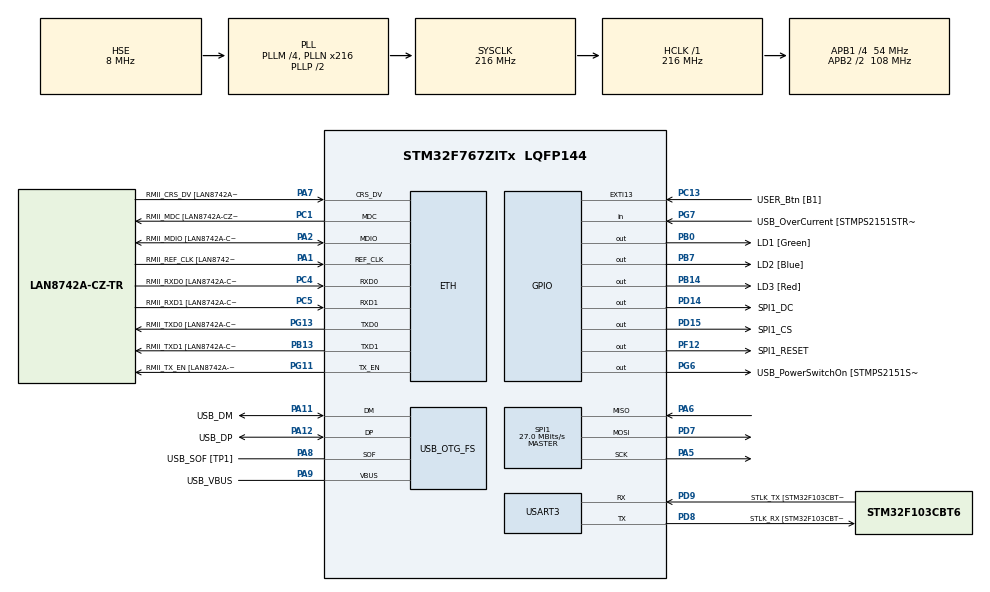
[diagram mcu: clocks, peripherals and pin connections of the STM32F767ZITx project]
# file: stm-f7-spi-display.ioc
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ETH.MediaInterface=HAL_ETH_RMII_MODE
ETH.PHY_Name=LAN8742A_PHY_ADDRESS
ETH.PHY_Value=0
ETH.PhyAddress=0
Mcu.Family=STM32F7
Mcu.Name=STM32F767ZITx
Mcu.Package=LQFP144
NVIC.PriorityGroup=NVIC_PRIORITYGROUP_4
NVIC.SPI1_IRQn=true\:0\:0\:false\:false\:true\:true\:true\:true
PA1.GPIO_Label=RMII_REF_CLK [LAN8742A-CZ-TR_REFCLK0]
PA1.Mode=RMII
PA1.Signal=ETH_REF_CLK
PA10.GPIO_Label=USB_ID
PA10.Signal=USB_OTG_FS_ID
PA11.GPIO_Label=USB_DM
PA11.Mode=Device_Only
PA11.Signal=USB_OTG_FS_DM
PA12.GPIO_Label=USB_DP
PA12.Mode=Device_Only
PA12.Signal=USB_OTG_FS_DP
PA13.GPIO_Label=TMS
PA13.Mode=Serial_Wire
PA13.Signal=SYS_JTMS-SWDIO
PA14.GPIO_Label=TCK
PA14.Mode=Serial_Wire
PA14.Signal=SYS_JTCK-SWCLK
PA2.GPIO_Label=RMII_MDIO [LAN8742A-CZ-TR_MDIO]
PA2.Mode=RMII
PA2.Signal=ETH_MDIO
PA5.Mode=Full_Duplex_Master
PA5.Signal=SPI1_SCK
PA6.Mode=Full_Duplex_Master
PA6.Signal=SPI1_MISO
PA7.GPIO_Label=RMII_CRS_DV [LAN8742A-CZ-TR_CRS_DV]
PA7.Mode=RMII
PA7.Signal=ETH_CRS_DV
PA8.GPIO_Label=USB_SOF [TP1]
PA8.Mode=Activate_SOF_FS
PA8.Signal=USB_OTG_FS_SOF
PA9.GPIO_Label=USB_VBUS
PA9.Mode=Activate_VBUS
PA9.Signal=USB_OTG_FS_VBUS
PB0.GPIO_Label=LD1 [Green]
PB0.Signal=GPIO_Output
PB13.GPIO_Label=RMII_TXD1 [LAN8742A-CZ-TR_TXD1]
PB13.Mode=RMII
PB13.Signal=ETH_TXD1
PB14.GPIO_Label=LD3 [Red]
PB14.Signal=GPIO_Output
PB3.GPIO_Label=SWO
PB3.Signal=SYS_JTDO-SWO
PB5.Signal=SPI3_MOSI
PB7.GPIO_Label=LD2 [Blue]
PB7.Signal=GPIO_Output
PC1.GPIO_Label=RMII_MDC [LAN8742A-CZ-TR_MDC]
PC1.Mode=RMII
PC1.Signal=ETH_MDC
PC13.GPIO_Label=USER_Btn [B1]
PC13.Signal=GPXTI13
PC14/OSC32_IN.Mode=LSE-External-Oscillator
PC14/OSC32_IN.Signal=RCC_OSC32_IN
PC15/OSC32_OUT.Mode=LSE-External-Oscillator
PC15/OSC32_OUT.Signal=RCC_OSC32_OUT
PC4.GPIO_Label=RMII_RXD0 [LAN8742A-CZ-TR_RXD0]
PC4.Mode=RMII
PC4.Signal=ETH_RXD0
PC5.GPIO_Label=RMII_RXD1 [LAN8742A-CZ-TR_RXD1]
PC5.Mode=RMII
PC5.Signal=ETH_RXD1
PD14.GPIO_Label=SPI1_DC
PD14.Signal=GPIO_Output
PD15.GPIO_Label=SPI1_CS
PD15.Signal=GPIO_Output
PD7.Mode=Full_Duplex_Master
PD7.Signal=SPI1_MOSI
PD8.GPIO_Label=STLK_RX [STM32F103CBT6_PA3]
PD8.Mode=Asynchronous
PD8.Signal=USART3_TX
PD9.GPIO_Label=STLK_TX [STM32F103CBT6_PA2]
PD9.Mode=Asynchronous
PD9.Signal=USART3_RX
PF12.GPIO_Label=SPI1_RESET
PF12.Signal=GPIO_Output
PG11.GPIO_Label=RMII_TX_EN [LAN8742A-CZ-TR_TXEN]
PG11.Mode=RMII
PG11.Signal=ETH_TX_EN
PG13.GPIO_Label=RMII_TXD0 [LAN8742A-CZ-TR_TXD0]
PG13.Mode=RMII
PG13.Signal=ETH_TXD0
PG6.GPIO_Label=USB_PowerSwitchOn [STMPS2151STR_EN]
PG6.Signal=GPIO_Output
PG7.GPIO_Label=USB_OverCurrent [STMPS2151STR_FAULT]
PG7.Signal=GPIO_Input
PH0/OSC_IN.GPIO_Label=MCO [STM32F103CBT6_PA8]
PH0/OSC_IN.Mode=HSE-External-Clock-Source
PH0/OSC_IN.Signal=RCC_OSC_IN
PH1/OSC_OUT.Mode=HSE-External-Clock-Source
PH1/OSC_OUT.Signal=RCC_OSC_OUT
ProjectManager.HeapSize=0x200
ProjectManager.StackSize=0x400
ProjectManager.TargetToolchain=STM32CubeIDE
RCC.48MHZClocksFreq_Value=24000000
RCC.AHBFreq_Value=216000000
RCC.APB1CLKDivider=RCC_HCLK_DIV4
RCC.APB1Freq_Value=54000000
RCC.APB1TimFreq_Value=108000000
RCC.APB2CLKDivider=RCC_HCLK_DIV2
RCC.APB2Freq_Value=108000000
RCC.APB2TimFreq_Value=216000000
RCC.CortexFreq_Value=216000000
RCC.HCLKFreq_Value=216000000
RCC.HSE_VALUE=8000000
RCC.HSI_VALUE=16000000
RCC.PLL48CLockSelection=RCC_CLK48SOURCE_PLLSAIP
RCC.PLLM=4
RCC.PLLMUL=RCC_PLL_MUL9
RCC.PLLN=216
RCC.PLLQ=8
RCC.PLLSAIN=96
RCC.PLLSAIP=RCC_PLLSAIP_DIV4
RCC.PRESCALERUSB=RCC_USBCLKSOURCE_PLL_DIV1_5
RCC.SYSCLKFreq_VALUE=216000000
RCC.SYSCLKSource=RCC_SYSCLKSOURCE_PLLCLK
RCC.SYSCLKSourceVirtual=RCC_SYSCLKSOURCE_PLLCLK
RCC.USBFreq_Value=48000000
RCC.VCOOutputFreq_Value=432000000
SPI1.BaudRatePrescaler=SPI_BAUDRATEPRESCALER_4
SPI1.CalculateBaudRate=27.0 MBits/s
SPI1.DataSize=SPI_DATASIZE_8BIT
SPI1.Direction=SPI_DIRECTION_2LINES
SPI1.Mode=SPI_MODE_MASTER
SPI1.VirtualType=VM_MASTER
USART3.VirtualMode-Asynchronous=VM_ASYNC
USB_OTG_FS.VirtualMode=Device_Only
board=NUCLEO-F767ZI

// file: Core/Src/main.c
/* USER CODE BEGIN Header */
/**
  ******************************************************************************
  * @file           : main.c
  * @brief          : Main program body
  ******************************************************************************
  * @attention
  *
  * Copyright (c) 2024 STMicroelectronics.
  * All rights reserved.
  *
  * This software is licensed under terms that can be found in the LICENSE file
  * in the root directory of this software component.
  * If no LICENSE file comes with this software, it is provided AS-IS.
  *
  ******************************************************************************
  */
/* USER CODE END Header */
#include "main.h"
#include "string.h"

/* USER CODE BEGIN Includes */
#include <string.h>
#include <stdarg.h>
#include <stdio.h>
#include "ili9341.h"
#include "ili9341_touch.h"
#include "fonts.h"
#include "testimg.h"
/* USER CODE END Includes */

#if defined ( __ICCARM__ ) /*!< IAR Compiler */
#pragma location=0x2007c000
ETH_DMADescTypeDef  DMARxDscrTab[ETH_RX_DESC_CNT]; /* Ethernet Rx DMA Descriptors */
#pragma location=0x2007c0a0
ETH_DMADescTypeDef  DMATxDscrTab[ETH_TX_DESC_CNT]; /* Ethernet Tx DMA Descriptors */

#elif defined ( __CC_ARM )  /* MDK ARM Compiler */

__attribute__((at(0x2007c000))) ETH_DMADescTypeDef  DMARxDscrTab[ETH_RX_DESC_CNT]; /* Ethernet Rx DMA Descriptors */
__attribute__((at(0x2007c0a0))) ETH_DMADescTypeDef  DMATxDscrTab[ETH_TX_DESC_CNT]; /* Ethernet Tx DMA Descriptors */

#elif defined ( __GNUC__ ) /* GNU Compiler */

ETH_DMADescTypeDef DMARxDscrTab[ETH_RX_DESC_CNT] __attribute__((section(".RxDecripSection"))); /* Ethernet Rx DMA Descriptors */
ETH_DMADescTypeDef DMATxDscrTab[ETH_TX_DESC_CNT] __attribute__((section(".TxDecripSection")));   /* Ethernet Tx DMA Descriptors */
#endif

ETH_TxPacketConfig TxConfig;

ETH_HandleTypeDef heth;

SPI_HandleTypeDef hspi1;

UART_HandleTypeDef huart3;

PCD_HandleTypeDef hpcd_USB_OTG_FS;

void SystemClock_Config(void);
static void MX_GPIO_Init(void);
static void MX_ETH_Init(void);
static void MX_USART3_UART_Init(void);
static void MX_USB_OTG_FS_PCD_Init(void);
static void MX_SPI1_Init(void);
/* USER CODE BEGIN PFP */
void mainApp(void);

/* USER CODE END PFP */

/* USER CODE BEGIN 0 */

void UART_Printf(const char* fmt, ...) {
    char buff[256];
    va_list args;
    va_start(args, fmt);
    vsnprintf(buff, sizeof(buff), fmt, args);
    HAL_UART_Transmit(&huart3, (uint8_t*)buff, strlen(buff),
                      HAL_MAX_DELAY);
    va_end(args);
}

void init() {
    ILI9341_Unselect();
//    ILI9341_TouchUnselect();
    ILI9341_Init();
}

void loop() {
    if(HAL_SPI_DeInit(&hspi1) != HAL_OK) {
        UART_Printf("HAL_SPI_DeInit failed!\r\n");
        return;
    }

    hspi1.Init.BaudRatePrescaler = SPI_BAUDRATEPRESCALER_2;

    if(HAL_SPI_Init(&hspi1) != HAL_OK) {
        UART_Printf("HAL_SPI_Init failed!\r\n");
        return;
    }

    // Check border
    ILI9341_FillScreen(ILI9341_BLACK);

    for(int x = 0; x < ILI9341_WIDTH; x++) {
        ILI9341_DrawPixel(x, 0, ILI9341_RED);
        ILI9341_DrawPixel(x, ILI9341_HEIGHT-1, ILI9341_RED);
    }

    for(int y = 0; y < ILI9341_HEIGHT; y++) {
        ILI9341_DrawPixel(0, y, ILI9341_RED);
        ILI9341_DrawPixel(ILI9341_WIDTH-1, y, ILI9341_RED);
    }

    HAL_Delay(3000);

    // Check fonts
    ILI9341_FillScreen(ILI9341_BLACK);
    ILI9341_WriteString(0, 0, "Font_7x10, red on black, lorem ipsum dolor sit amet", Font_7x10, ILI9341_RED, ILI9341_BLACK);
    ILI9341_WriteString(0, 3*10, "Font_11x18, green, lorem ipsum dolor sit amet", Font_11x18, ILI9341_GREEN, ILI9341_BLACK);
    ILI9341_WriteString(0, 3*10+3*18, "Font_16x26, blue, lorem ipsum dolor sit amet", Font_16x26, ILI9341_BLUE, ILI9341_BLACK);

    HAL_Delay(1000);
    ILI9341_InvertColors(true);
    HAL_Delay(1000);
    ILI9341_InvertColors(false);

    HAL_Delay(5000);

    // Check colors
    ILI9341_FillScreen(ILI9341_WHITE);
    ILI9341_WriteString(0, 0, "WHITE", Font_11x18, ILI9341_BLACK, ILI9341_WHITE);
    HAL_Delay(500);

    ILI9341_FillScreen(ILI9341_BLUE);
    ILI9341_WriteString(0, 0, "BLUE", Font_11x18, ILI9341_BLACK, ILI9341_BLUE);
    HAL_Delay(500);

    ILI9341_FillScreen(ILI9341_RED);
    ILI9341_WriteString(0, 0, "RED", Font_11x18, ILI9341_BLACK, ILI9341_RED);
    HAL_Delay(500);

    ILI9341_FillScreen(ILI9341_GREEN);
    ILI9341_WriteString(0, 0, "GREEN", Font_11x18, ILI9341_BLACK, ILI9341_GREEN);
    HAL_Delay(500);

    ILI9341_FillScreen(ILI9341_CYAN);
    ILI9341_WriteString(0, 0, "CYAN", Font_11x18, ILI9341_BLACK, ILI9341_CYAN);
    HAL_Delay(500);

    ILI9341_FillScreen(ILI9341_MAGENTA);
    ILI9341_WriteString(0, 0, "MAGENTA", Font_11x18, ILI9341_BLACK, ILI9341_MAGENTA);
    HAL_Delay(500);

    ILI9341_FillScreen(ILI9341_YELLOW);
    ILI9341_WriteString(0, 0, "YELLOW", Font_11x18, ILI9341_BLACK, ILI9341_YELLOW);
    HAL_Delay(500);

    ILI9341_FillScreen(ILI9341_BLACK);
    ILI9341_WriteString(0, 0, "BLACK", Font_11x18, ILI9341_WHITE, ILI9341_BLACK);
    HAL_Delay(500);

    ILI9341_DrawImage((ILI9341_WIDTH - 240) / 2, (ILI9341_HEIGHT - 240) / 2, 240, 240, (const uint16_t*)test_img_240x240);

    HAL_Delay(3000);

    /*
    ILI9341_FillScreen(ILI9341_BLACK);
    ILI9341_WriteString(0, 0, "Touchpad test.  Draw something!", Font_11x18, ILI9341_WHITE, ILI9341_BLACK);
    HAL_Delay(1000);
    ILI9341_FillScreen(ILI9341_BLACK);
    */

    if(HAL_SPI_DeInit(&hspi1) != HAL_OK) {
        UART_Printf("HAL_SPI_DeInit failed!\r\n");
        return;
    }

    hspi1.Init.BaudRatePrescaler = SPI_BAUDRATEPRESCALER_128;

    if(HAL_SPI_Init(&hspi1) != HAL_OK) {
        UART_Printf("HAL_SPI_Init failed!\r\n");
        return;
    }

    /*
    int npoints = 0;
    while(npoints < 10000) {
        uint16_t x, y;

        if(ILI9341_TouchGetCoordinates(&x, &y)) {
            ILI9341_DrawPixel(x, 320-y, ILI9341_WHITE);
            npoints++;
        }
    }
    */
}

/* USER CODE END 0 */

int main(void)
{

  /* MCU Configuration--------------------------------------------------------*/

  /* Reset of all peripherals, Initializes the Flash interface and the Systick. */
  HAL_Init();

  /* Configure the system clock */
  SystemClock_Config();

  /* Initialize all configured peripherals */
  MX_GPIO_Init();
  MX_ETH_Init();
  MX_USART3_UART_Init();
  MX_USB_OTG_FS_PCD_Init();
  MX_SPI1_Init();

  /* Infinite loop */
  /* USER CODE BEGIN WHILE */
  UART_Printf("Starting init...\r\n");
  init();

  UART_Printf("Starting loop...\r\n");
  while (1)
  {
    loop();
    /* USER CODE END WHILE */

  }
}

void SystemClock_Config(void)
{
  RCC_OscInitTypeDef RCC_OscInitStruct = {0};
  RCC_ClkInitTypeDef RCC_ClkInitStruct = {0};

  /** Configure LSE Drive Capability
  */
  HAL_PWR_EnableBkUpAccess();

  /** Configure the main internal regulator output voltage
  */
  __HAL_RCC_PWR_CLK_ENABLE();
  __HAL_PWR_VOLTAGESCALING_CONFIG(PWR_REGULATOR_VOLTAGE_SCALE1);

  /** Initializes the RCC Oscillators according to the specified parameters
  * in the RCC_OscInitTypeDef structure.
  */
  RCC_OscInitStruct.OscillatorType = RCC_OSCILLATORTYPE_HSE;
  RCC_OscInitStruct.HSEState = RCC_HSE_BYPASS;
  RCC_OscInitStruct.PLL.PLLState = RCC_PLL_ON;
  RCC_OscInitStruct.PLL.PLLSource = RCC_PLLSOURCE_HSE;
  RCC_OscInitStruct.PLL.PLLM = 4;
  RCC_OscInitStruct.PLL.PLLN = 216;
  RCC_OscInitStruct.PLL.PLLP = RCC_PLLP_DIV2;
  RCC_OscInitStruct.PLL.PLLQ = 8;
  RCC_OscInitStruct.PLL.PLLR = 2;
  if (HAL_RCC_OscConfig(&RCC_OscInitStruct) != HAL_OK)
  {
    Error_Handler();
  }

  /** Activate the Over-Drive mode
  */
  if (HAL_PWREx_EnableOverDrive() != HAL_OK)
  {
    Error_Handler();
  }

  /** Initializes the CPU, AHB and APB buses clocks
  */
  RCC_ClkInitStruct.ClockType = RCC_CLOCKTYPE_HCLK|RCC_CLOCKTYPE_SYSCLK
                              |RCC_CLOCKTYPE_PCLK1|RCC_CLOCKTYPE_PCLK2;
  RCC_ClkInitStruct.SYSCLKSource = RCC_SYSCLKSOURCE_PLLCLK;
  RCC_ClkInitStruct.AHBCLKDivider = RCC_SYSCLK_DIV1;
  RCC_ClkInitStruct.APB1CLKDivider = RCC_HCLK_DIV4;
  RCC_ClkInitStruct.APB2CLKDivider = RCC_HCLK_DIV2;

  if (HAL_RCC_ClockConfig(&RCC_ClkInitStruct, FLASH_LATENCY_7) != HAL_OK)
  {
    Error_Handler();
  }
}

static void MX_ETH_Init(void)
{

   static uint8_t MACAddr[6];

  heth.Instance = ETH;
  MACAddr[0] = 0x00;
  MACAddr[1] = 0x80;
  MACAddr[2] = 0xE1;
  MACAddr[3] = 0x00;
  MACAddr[4] = 0x00;
  MACAddr[5] = 0x00;
  heth.Init.MACAddr = &MACAddr[0];
  heth.Init.MediaInterface = HAL_ETH_RMII_MODE;
  heth.Init.TxDesc = DMATxDscrTab;
  heth.Init.RxDesc = DMARxDscrTab;
  heth.Init.RxBuffLen = 1524;

  if (HAL_ETH_Init(&heth) != HAL_OK)
  {
    Error_Handler();
  }

  memset(&TxConfig, 0 , sizeof(ETH_TxPacketConfig));
  TxConfig.Attributes = ETH_TX_PACKETS_FEATURES_CSUM | ETH_TX_PACKETS_FEATURES_CRCPAD;
  TxConfig.ChecksumCtrl = ETH_CHECKSUM_IPHDR_PAYLOAD_INSERT_PHDR_CALC;
  TxConfig.CRCPadCtrl = ETH_CRC_PAD_INSERT;

}

static void MX_SPI1_Init(void)
{

  /* SPI1 parameter configuration*/
  hspi1.Instance = SPI1;
  hspi1.Init.Mode = SPI_MODE_MASTER;
  hspi1.Init.Direction = SPI_DIRECTION_2LINES;
  hspi1.Init.DataSize = SPI_DATASIZE_8BIT;
  hspi1.Init.CLKPolarity = SPI_POLARITY_LOW;
  hspi1.Init.CLKPhase = SPI_PHASE_1EDGE;
  hspi1.Init.NSS = SPI_NSS_SOFT;
  hspi1.Init.BaudRatePrescaler = SPI_BAUDRATEPRESCALER_4;
  hspi1.Init.FirstBit = SPI_FIRSTBIT_MSB;
  hspi1.Init.TIMode = SPI_TIMODE_DISABLE;
  hspi1.Init.CRCCalculation = SPI_CRCCALCULATION_DISABLE;
  hspi1.Init.CRCPolynomial = 7;
  hspi1.Init.CRCLength = SPI_CRC_LENGTH_DATASIZE;
  hspi1.Init.NSSPMode = SPI_NSS_PULSE_ENABLE;
  if (HAL_SPI_Init(&hspi1) != HAL_OK)
  {
    Error_Handler();
  }

}

static void MX_USART3_UART_Init(void)
{

  huart3.Instance = USART3;
  huart3.Init.BaudRate = 115200;
  huart3.Init.WordLength = UART_WORDLENGTH_8B;
  huart3.Init.StopBits = UART_STOPBITS_1;
  huart3.Init.Parity = UART_PARITY_NONE;
  huart3.Init.Mode = UART_MODE_TX_RX;
  huart3.Init.HwFlowCtl = UART_HWCONTROL_NONE;
  huart3.Init.OverSampling = UART_OVERSAMPLING_16;
  huart3.Init.OneBitSampling = UART_ONE_BIT_SAMPLE_DISABLE;
  huart3.AdvancedInit.AdvFeatureInit = UART_ADVFEATURE_NO_INIT;
  if (HAL_UART_Init(&huart3) != HAL_OK)
  {
    Error_Handler();
  }

}

static void MX_USB_OTG_FS_PCD_Init(void)
{

  hpcd_USB_OTG_FS.Instance = USB_OTG_FS;
  hpcd_USB_OTG_FS.Init.dev_endpoints = 6;
  hpcd_USB_OTG_FS.Init.speed = PCD_SPEED_FULL;
  hpcd_USB_OTG_FS.Init.dma_enable = DISABLE;
  hpcd_USB_OTG_FS.Init.phy_itface = PCD_PHY_EMBEDDED;
  hpcd_USB_OTG_FS.Init.Sof_enable = ENABLE;
  hpcd_USB_OTG_FS.Init.low_power_enable = DISABLE;
  hpcd_USB_OTG_FS.Init.lpm_enable = DISABLE;
  hpcd_USB_OTG_FS.Init.vbus_sensing_enable = ENABLE;
  hpcd_USB_OTG_FS.Init.use_dedicated_ep1 = DISABLE;
  if (HAL_PCD_Init(&hpcd_USB_OTG_FS) != HAL_OK)
  {
    Error_Handler();
  }

}

static void MX_GPIO_Init(void)
{
  GPIO_InitTypeDef GPIO_InitStruct = {0};

  /* GPIO Ports Clock Enable */
  __HAL_RCC_GPIOC_CLK_ENABLE();
  __HAL_RCC_GPIOH_CLK_ENABLE();
  __HAL_RCC_GPIOA_CLK_ENABLE();
  __HAL_RCC_GPIOB_CLK_ENABLE();
  __HAL_RCC_GPIOF_CLK_ENABLE();
  __HAL_RCC_GPIOD_CLK_ENABLE();
  __HAL_RCC_GPIOG_CLK_ENABLE();

  /*Configure GPIO pin Output Level */
  HAL_GPIO_WritePin(GPIOB, LD1_Pin|LD3_Pin|LD2_Pin, GPIO_PIN_RESET);

  /*Configure GPIO pin Output Level */
  HAL_GPIO_WritePin(SPI1_RESET_GPIO_Port, SPI1_RESET_Pin, GPIO_PIN_RESET);

  /*Configure GPIO pin Output Level */
  HAL_GPIO_WritePin(GPIOD, SPI1_DC_Pin|SPI1_CS_Pin, GPIO_PIN_RESET);

  /*Configure GPIO pin Output Level */
  HAL_GPIO_WritePin(USB_PowerSwitchOn_GPIO_Port, USB_PowerSwitchOn_Pin, GPIO_PIN_RESET);

  /*Configure GPIO pin : USER_Btn_Pin */
  GPIO_InitStruct.Pin = USER_Btn_Pin;
  GPIO_InitStruct.Mode = GPIO_MODE_IT_RISING;
  GPIO_InitStruct.Pull = GPIO_NOPULL;
  HAL_GPIO_Init(USER_Btn_GPIO_Port, &GPIO_InitStruct);

  /*Configure GPIO pins : LD1_Pin LD3_Pin LD2_Pin */
  GPIO_InitStruct.Pin = LD1_Pin|LD3_Pin|LD2_Pin;
  GPIO_InitStruct.Mode = GPIO_MODE_OUTPUT_PP;
  GPIO_InitStruct.Pull = GPIO_NOPULL;
  GPIO_InitStruct.Speed = GPIO_SPEED_FREQ_LOW;
  HAL_GPIO_Init(GPIOB, &GPIO_InitStruct);

  /*Configure GPIO pin : SPI1_RESET_Pin */
  GPIO_InitStruct.Pin = SPI1_RESET_Pin;
  GPIO_InitStruct.Mode = GPIO_MODE_OUTPUT_PP;
  GPIO_InitStruct.Pull = GPIO_NOPULL;
  GPIO_InitStruct.Speed = GPIO_SPEED_FREQ_LOW;
  HAL_GPIO_Init(SPI1_RESET_GPIO_Port, &GPIO_InitStruct);

  /*Configure GPIO pins : SPI1_DC_Pin SPI1_CS_Pin */
  GPIO_InitStruct.Pin = SPI1_DC_Pin|SPI1_CS_Pin;
  GPIO_InitStruct.Mode = GPIO_MODE_OUTPUT_PP;
  GPIO_InitStruct.Pull = GPIO_NOPULL;
  GPIO_InitStruct.Speed = GPIO_SPEED_FREQ_LOW;
  HAL_GPIO_Init(GPIOD, &GPIO_InitStruct);

  /*Configure GPIO pin : USB_PowerSwitchOn_Pin */
  GPIO_InitStruct.Pin = USB_PowerSwitchOn_Pin;
  GPIO_InitStruct.Mode = GPIO_MODE_OUTPUT_PP;
  GPIO_InitStruct.Pull = GPIO_NOPULL;
  GPIO_InitStruct.Speed = GPIO_SPEED_FREQ_LOW;
  HAL_GPIO_Init(USB_PowerSwitchOn_GPIO_Port, &GPIO_InitStruct);

  /*Configure GPIO pin : USB_OverCurrent_Pin */
  GPIO_InitStruct.Pin = USB_OverCurrent_Pin;
  GPIO_InitStruct.Mode = GPIO_MODE_INPUT;
  GPIO_InitStruct.Pull = GPIO_NOPULL;
  HAL_GPIO_Init(USB_OverCurrent_GPIO_Port, &GPIO_InitStruct);

  /*Configure GPIO pin : PB5 */
  GPIO_InitStruct.Pin = GPIO_PIN_5;
  GPIO_InitStruct.Mode = GPIO_MODE_AF_PP;
  GPIO_InitStruct.Pull = GPIO_NOPULL;
  GPIO_InitStruct.Speed = GPIO_SPEED_FREQ_VERY_HIGH;
  GPIO_InitStruct.Alternate = GPIO_AF6_SPI3;
  HAL_GPIO_Init(GPIOB, &GPIO_InitStruct);

}

void Error_Handler(void)
{
  __disable_irq();
  while (1)
  {
  }
}
